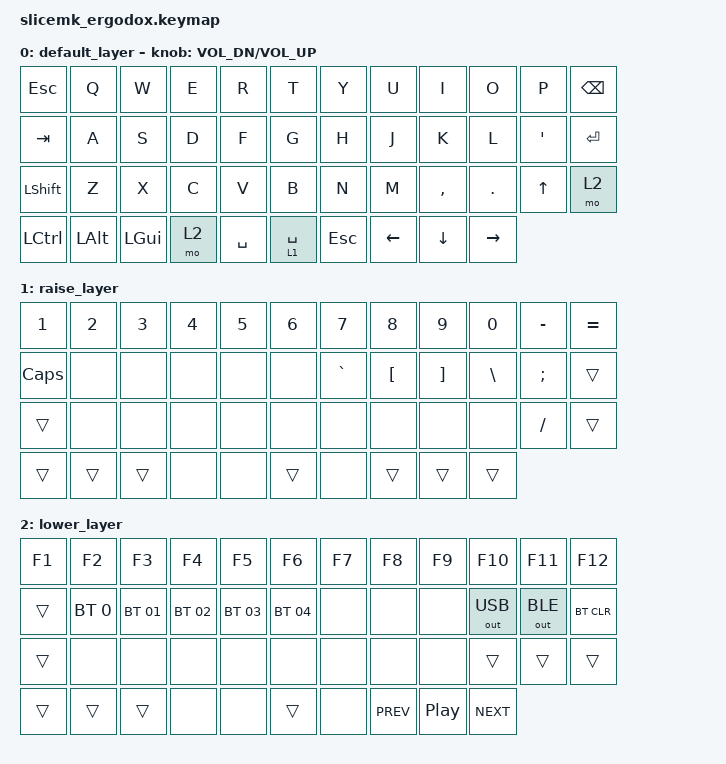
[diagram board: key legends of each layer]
#include <behaviors.dtsi>
#include <dt-bindings/zmk/keys.h>
#include <dt-bindings/zmk/bt.h>
#include <dt-bindings/zmk/outputs.h>
#include <dt-bindings/zmk/mouse.h>


/ {
  keymap {
    compatible = "zmk,keymap";

    default_layer {
// ----------------------------------------------------------------------------
// | ESC |  Q  |  W  |  E  |  R  |  T  |  Y |  U  |  I  |  O  |  P  |   BKSP  |
// | TAB  |  A  |  S  |  D  |  F  |  G  |  H  |  J |  K  |  L  |  '  | RETURN |
// | SHIFT  |  Z  |  X  |  C  |  V  |  B  |  N  |  M  |  ,  |  .  | U P | L 2 |
// |CNTRL | WIN | ALT  |N/A|SPACE|      SPACE/L1      | ESC |LEFT |DOWN |RIGHT|
      bindings = <
  &kp ESC      &kp Q    &kp W    &kp E &kp R  &kp T   &kp Y  &kp U    &kp I    &kp O    &kp P   &kp BKSP
  &kp TAB &kp A    &kp S    &kp D &kp F  &kp G   &kp H  &kp J    &kp K    &kp L    &kp SQT &kp RET
  &kp LSHFT  &kp Z    &kp X    &kp C &kp V  &kp B   &kp N  &kp M    &kp COMMA &kp DOT  &kp UP  &mo 2
  &kp LCTRL  &kp LALT &kp LGUI &mo 2 &kp SPACE &lt 1 SPACE &kp ESC &kp LEFT &kp DOWN &kp RIGHT
      >;
      sensor-bindings = <&inc_dec_kp C_VOL_DN C_VOL_UP>;
    };

    raise_layer {
// ----------------------------------------------------------------------------
// |  1  |  2  |  3  |  4  |  5  |  6  |  7  |  8  |  9  |  0  |  -  |    =   |
// |trans |     |     |     |     |     |  `  |  [  |  ]  |  \  |  ;  |  trn  |
// |  trans |     |     |     |     |     |     |     |     |     |  /  | trn |
// |trans |trans|trans |N/A|N/A|         trns         |EMPTY|     |     |     |
      bindings = <
      &kp N1   &kp N2 &kp N3 &kp N4 &kp N5 &kp N6 &kp N7    &kp N8    &kp N9   &kp N0   &kp MINUS &kp EQUAL 
      &kp CAPS &none  &none  &none  &none  &none  &kp GRAVE &kp LBKT  &kp RBKT &kp BSLH &kp SEMI  &trans
      &trans   &none  &none  &none  &none  &none  &none     &none     &none    &none    &kp SLASH &trans
      &trans  &trans  &trans &none &none &trans &none &trans  &trans  &trans
      >;
    };

    lower_layer {
// ----------------------------------------------------------------------------
// | F 1 | F 2 | F 3 | F 4 | F 5 | F 6 | F 7 | F 8 | F 9 | F10 | F11 |  F 12  |
// |trans | BT0 | BT1 | BT2 | BT3 | BT4 |     |     |     |     |     |BT CLR |
// |  trans |     |     |     |     |     |     |     |     |     |     |trans|
// |trans |trans|trans |N/A|N/A|         trns         |EMPTY|PREV |PLAY |NEXT |
      bindings = <
      &kp F1 &kp F2        &kp F3        &kp F4        &kp F5        &kp F6        &kp F7     &kp F8       &kp F9 &kp F10 &kp F11 &kp F12
      &trans &bt BT_SEL 0  &bt BT_SEL 01 &bt BT_SEL 02 &bt BT_SEL 03 &bt BT_SEL 04 &none      &none        &none  &out OUT_USB &out OUT_BLE &bt BT_CLR
      &trans &none         &none &none   &none         &none         &none         &none      &none        &trans &trans &trans
      &trans     &trans        &trans    &none &none                      &trans            &none  &kp C_PREV &kp C_PP &kp C_NEXT
      >;
    };
  };
};
